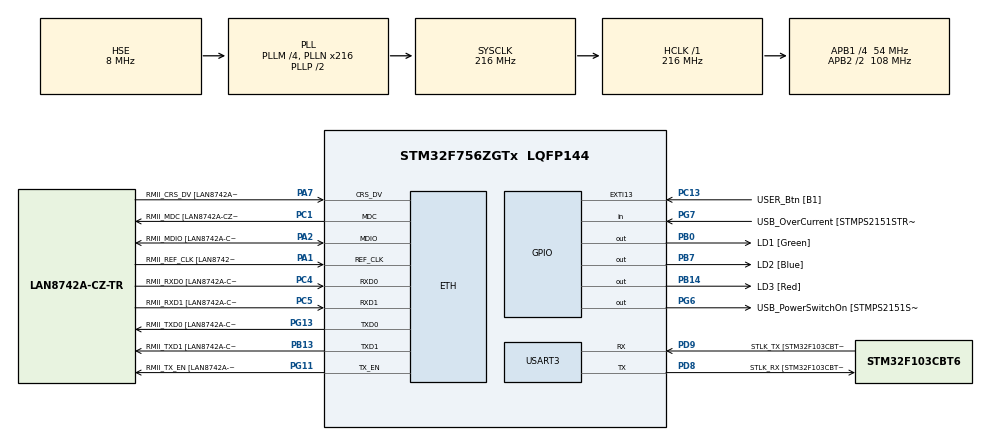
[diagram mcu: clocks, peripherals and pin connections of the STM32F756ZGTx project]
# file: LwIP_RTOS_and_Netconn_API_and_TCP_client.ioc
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ETH.MediaInterface=ETH_MEDIA_INTERFACE_RMII
ETH.PhyAddress=0
FREERTOS.Tasks01=defaultTask,0,256,StartDefaultTask,Default,NULL,Dynamic,NULL,NULL
FREERTOS.configCHECK_FOR_STACK_OVERFLOW=2
FREERTOS.configMINIMAL_STACK_SIZE=256
FREERTOS.configTOTAL_HEAP_SIZE=32768
FREERTOS.configUSE_NEWLIB_REENTRANT=1
LWIP.Version=v2.1.2_Cube
Mcu.Family=STM32F7
Mcu.Name=STM32F756ZGTx
Mcu.Package=LQFP144
NVIC.ETH_IRQn=true\:5\:0\:false\:false\:true\:true\:false\:true
NVIC.PriorityGroup=NVIC_PRIORITYGROUP_4
NVIC.TIM6_DAC_IRQn=true\:15\:0\:false\:false\:true\:false\:false\:true
NVIC.TimeBase=TIM6_DAC_IRQn
NVIC.TimeBaseIP=TIM6
PA1.GPIO_Label=RMII_REF_CLK [LAN8742A-CZ-TR_REFCLK0]
PA1.Mode=RMII
PA1.Signal=ETH_REF_CLK
PA10.GPIO_Label=USB_ID
PA10.Signal=USB_OTG_FS_ID
PA13.GPIO_Label=TMS
PA13.Mode=Trace_Asynchronous_SW
PA13.Signal=SYS_JTMS-SWDIO
PA14.GPIO_Label=TCK
PA14.Mode=Trace_Asynchronous_SW
PA14.Signal=SYS_JTCK-SWCLK
PA2.GPIO_Label=RMII_MDIO [LAN8742A-CZ-TR_MDIO]
PA2.Mode=RMII
PA2.Signal=ETH_MDIO
PA7.GPIO_Label=RMII_CRS_DV [LAN8742A-CZ-TR_CRS_DV]
PA7.Mode=RMII
PA7.Signal=ETH_CRS_DV
PA8.GPIO_Label=USB_SOF [TP1]
PA8.Signal=USB_OTG_FS_SOF
PA9.GPIO_Label=USB_VBUS
PA9.Signal=USB_OTG_FS_VBUS
PB0.GPIO_Label=LD1 [Green]
PB0.Signal=GPIO_Output
PB13.GPIO_Label=RMII_TXD1 [LAN8742A-CZ-TR_TXD1]
PB13.Mode=RMII
PB13.Signal=ETH_TXD1
PB14.GPIO_Label=LD3 [Red]
PB14.Signal=GPIO_Output
PB3.GPIO_Label=SWO
PB3.Mode=Trace_Asynchronous_SW
PB3.Signal=SYS_JTDO-SWO
PB7.GPIO_Label=LD2 [Blue]
PB7.Signal=GPIO_Output
PC1.GPIO_Label=RMII_MDC [LAN8742A-CZ-TR_MDC]
PC1.Mode=RMII
PC1.Signal=ETH_MDC
PC13.GPIO_Label=USER_Btn [B1]
PC13.Signal=GPXTI13
PC14/OSC32_IN.Mode=LSE-External-Oscillator
PC14/OSC32_IN.Signal=RCC_OSC32_IN
PC15/OSC32_OUT.Mode=LSE-External-Oscillator
PC15/OSC32_OUT.Signal=RCC_OSC32_OUT
PC4.GPIO_Label=RMII_RXD0 [LAN8742A-CZ-TR_RXD0]
PC4.Mode=RMII
PC4.Signal=ETH_RXD0
PC5.GPIO_Label=RMII_RXD1 [LAN8742A-CZ-TR_RXD1]
PC5.Mode=RMII
PC5.Signal=ETH_RXD1
PD8.GPIO_Label=STLK_RX [STM32F103CBT6_PA3]
PD8.Mode=Asynchronous
PD8.Signal=USART3_TX
PD9.GPIO_Label=STLK_TX [STM32F103CBT6_PA2]
PD9.Mode=Asynchronous
PD9.Signal=USART3_RX
PG11.GPIO_Label=RMII_TX_EN [LAN8742A-CZ-TR_TXEN]
PG11.Mode=RMII
PG11.Signal=ETH_TX_EN
PG13.GPIO_Label=RMII_TXD0 [LAN8742A-CZ-TR_TXD0]
PG13.Mode=RMII
PG13.Signal=ETH_TXD0
PG6.GPIO_Label=USB_PowerSwitchOn [STMPS2151STR_EN]
PG6.Signal=GPIO_Output
PG7.GPIO_Label=USB_OverCurrent [STMPS2151STR_FAULT]
PG7.Signal=GPIO_Input
PH0/OSC_IN.GPIO_Label=MCO [STM32F103CBT6_PA8]
PH0/OSC_IN.Mode=HSE-External-Clock-Source
PH0/OSC_IN.Signal=RCC_OSC_IN
PH1/OSC_OUT.Mode=HSE-External-Clock-Source
PH1/OSC_OUT.Signal=RCC_OSC_OUT
ProjectManager.HeapSize=0x200
ProjectManager.StackSize=0x400
ProjectManager.TargetToolchain=STM32CubeIDE
RCC.AHBFreq_Value=216000000
RCC.APB1CLKDivider=RCC_HCLK_DIV4
RCC.APB1Freq_Value=54000000
RCC.APB1TimFreq_Value=108000000
RCC.APB2CLKDivider=RCC_HCLK_DIV2
RCC.APB2Freq_Value=108000000
RCC.APB2TimFreq_Value=216000000
RCC.CortexFreq_Value=216000000
RCC.HCLKFreq_Value=216000000
RCC.HSE_VALUE=8000000
RCC.HSI_VALUE=16000000
RCC.PLLM=4
RCC.PLLN=216
RCC.PLLQ=9
RCC.PLLSourceVirtual=RCC_PLLSOURCE_HSE
RCC.SYSCLKFreq_VALUE=216000000
RCC.SYSCLKSource=RCC_SYSCLKSOURCE_PLLCLK
RCC.USBFreq_Value=48000000
RCC.VCOOutputFreq_Value=432000000
USART3.VirtualMode-Asynchronous=VM_ASYNC
VP_FREERTOS_VS_CMSIS_V1.Mode=CMSIS_V1
VP_LWIP_VS_Enabled.Mode=Enabled
VP_SYS_VS_tim6.Mode=TIM6
board=custom

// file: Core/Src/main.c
/* USER CODE BEGIN Header */
/**
  ******************************************************************************
  * @file           : main.c
  * @brief          : Main program body
  ******************************************************************************
  * @attention
  *
  * <h2><center>&copy; Copyright (c) 2021 STMicroelectronics.
  * All rights reserved.</center></h2>
  *
  * This software component is licensed by ST under BSD 3-Clause license,
  * the "License"; You may not use this file except in compliance with the
  * License. You may obtain a copy of the License at:
  *                        opensource.org/licenses/BSD-3-Clause
  *
  ******************************************************************************
  */
/* USER CODE END Header */
#include "main.h"
#include "cmsis_os.h"
#include "lwip.h"
#include "usart.h"
#include "gpio.h"

void SystemClock_Config(void);
void MX_FREERTOS_Init(void);

/* USER CODE BEGIN 0 */
int _write(int file, char *ptr, int len)
{
  int DataIdx;

  for (DataIdx = 0; DataIdx < len; DataIdx++)
  {
    ITM_SendChar(*ptr++);
  }
  return len;
}
/* USER CODE END 0 */

int main(void)
{

  /* MCU Configuration--------------------------------------------------------*/

  /* Reset of all peripherals, Initializes the Flash interface and the Systick. */
  HAL_Init();

  /* Configure the system clock */
  SystemClock_Config();

  /* Initialize all configured peripherals */
  MX_GPIO_Init();
  MX_USART3_UART_Init();
  /* USER CODE BEGIN 2 */
  printf("Don't remove this printf to prevent hard fault.\r\n");

  /* USER CODE END 2 */

  /* Call init function for freertos objects (in freertos.c) */
  MX_FREERTOS_Init();
  /* Start scheduler */
  osKernelStart();

  /* We should never get here as control is now taken by the scheduler */
  /* Infinite loop */
  while (1)
  {

  }
}

void SystemClock_Config(void)
{
  RCC_OscInitTypeDef RCC_OscInitStruct = {0};
  RCC_ClkInitTypeDef RCC_ClkInitStruct = {0};
  RCC_PeriphCLKInitTypeDef PeriphClkInitStruct = {0};

  /** Configure LSE Drive Capability
  */
  HAL_PWR_EnableBkUpAccess();
  /** Configure the main internal regulator output voltage
  */
  __HAL_RCC_PWR_CLK_ENABLE();
  __HAL_PWR_VOLTAGESCALING_CONFIG(PWR_REGULATOR_VOLTAGE_SCALE1);
  /** Initializes the RCC Oscillators according to the specified parameters
  * in the RCC_OscInitTypeDef structure.
  */
  RCC_OscInitStruct.OscillatorType = RCC_OSCILLATORTYPE_HSE;
  RCC_OscInitStruct.HSEState = RCC_HSE_BYPASS;
  RCC_OscInitStruct.PLL.PLLState = RCC_PLL_ON;
  RCC_OscInitStruct.PLL.PLLSource = RCC_PLLSOURCE_HSE;
  RCC_OscInitStruct.PLL.PLLM = 4;
  RCC_OscInitStruct.PLL.PLLN = 216;
  RCC_OscInitStruct.PLL.PLLP = RCC_PLLP_DIV2;
  RCC_OscInitStruct.PLL.PLLQ = 9;
  if (HAL_RCC_OscConfig(&RCC_OscInitStruct) != HAL_OK)
  {
    Error_Handler();
  }
  /** Activate the Over-Drive mode
  */
  if (HAL_PWREx_EnableOverDrive() != HAL_OK)
  {
    Error_Handler();
  }
  /** Initializes the CPU, AHB and APB buses clocks
  */
  RCC_ClkInitStruct.ClockType = RCC_CLOCKTYPE_HCLK|RCC_CLOCKTYPE_SYSCLK
                              |RCC_CLOCKTYPE_PCLK1|RCC_CLOCKTYPE_PCLK2;
  RCC_ClkInitStruct.SYSCLKSource = RCC_SYSCLKSOURCE_PLLCLK;
  RCC_ClkInitStruct.AHBCLKDivider = RCC_SYSCLK_DIV1;
  RCC_ClkInitStruct.APB1CLKDivider = RCC_HCLK_DIV4;
  RCC_ClkInitStruct.APB2CLKDivider = RCC_HCLK_DIV2;

  if (HAL_RCC_ClockConfig(&RCC_ClkInitStruct, FLASH_LATENCY_7) != HAL_OK)
  {
    Error_Handler();
  }
  PeriphClkInitStruct.PeriphClockSelection = RCC_PERIPHCLK_USART3;
  PeriphClkInitStruct.Usart3ClockSelection = RCC_USART3CLKSOURCE_PCLK1;
  if (HAL_RCCEx_PeriphCLKConfig(&PeriphClkInitStruct) != HAL_OK)
  {
    Error_Handler();
  }
}

void HAL_TIM_PeriodElapsedCallback(TIM_HandleTypeDef *htim)
{
  if (htim->Instance == TIM6) {
    HAL_IncTick();
  }
}

void Error_Handler(void)
{
  __disable_irq();
  while (1)
  {
  }
}

/************************ (C) COPYRIGHT STMicroelectronics *****END OF FILE****/

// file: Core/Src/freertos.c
/* USER CODE BEGIN Header */
/**
 ******************************************************************************
 * File Name          : freertos.c
 * Description        : Code for freertos applications
 ******************************************************************************
 * @attention
 *
 * <h2><center>&copy; Copyright (c) 2020 STMicroelectronics.
 * All rights reserved.</center></h2>
 *
 * This software component is licensed by ST under Ultimate Liberty license
 * SLA0044, the "License"; You may not use this file except in compliance with
 * the License. You may obtain a copy of the License at:
 *                             www.st.com/SLA0044
 *
 ******************************************************************************
 */
/* USER CODE END Header */

#include "FreeRTOS.h"
#include "task.h"
#include "main.h"
#include "cmsis_os.h"

/* USER CODE BEGIN Includes */
#include <string.h>
#include "lwip.h"
#include "lwip/api.h"
/* USER CODE END Includes */

/* USER CODE BEGIN PTD */
typedef enum
{
  REQ = 0,
  RESP = 1
} packet_type;

struct time_packet
{
  uint8_t head; //0xAE
  uint8_t type; //0:REQ, 1:RESP
  uint8_t year;
  uint8_t month;
  uint8_t day;
  uint8_t hour;
  uint8_t minute;
  uint8_t second;
  uint8_t dummy[247]; //you may add more information
  uint8_t tail; //0xEA
};
//256 bytes

/* USER CODE END PTD */

/* USER CODE BEGIN PD */
#define SERVER_IP1  192 //server ip address
#define SERVER_IP2  168
#define SERVER_IP3  1
#define SERVER_IP4  227
#define SERVER_PORT	1234 //server listen port
/* USER CODE END PD */

/* USER CODE BEGIN Variables */
extern struct netif gnetif; //extern gnetif
osThreadId tcpClientTaskHandle;  //tcp client task handle
ip_addr_t server_addr; //server address
struct time_packet packet; //256 bytes time_packet structure

/* USER CODE END Variables */
osThreadId defaultTaskHandle;

/* USER CODE BEGIN FunctionPrototypes */
void StartTcpClientTask(void const *argument); //tcp client task function
/* USER CODE END FunctionPrototypes */

void StartDefaultTask(void const * argument);

extern void MX_LWIP_Init(void);
void MX_FREERTOS_Init(void); /* (MISRA C 2004 rule 8.1) */

/* GetIdleTaskMemory prototype (linked to static allocation support) */
void vApplicationGetIdleTaskMemory( StaticTask_t **ppxIdleTaskTCBBuffer, StackType_t **ppxIdleTaskStackBuffer, uint32_t *pulIdleTaskStackSize );

/* Hook prototypes */
void vApplicationStackOverflowHook(xTaskHandle xTask, signed char *pcTaskName);

/* USER CODE BEGIN 4 */
void vApplicationStackOverflowHook(xTaskHandle xTask, signed char *pcTaskName)
{
  /* Run time stack overflow checking is performed if
   configCHECK_FOR_STACK_OVERFLOW is defined to 1 or 2. This hook function is
   called if a stack overflow is detected. */

  HAL_GPIO_WritePin(LD3_GPIO_Port, LD3_Pin, GPIO_PIN_SET); //turn on red led when detects stack overflow
}
/* USER CODE END 4 */

/* USER CODE BEGIN GET_IDLE_TASK_MEMORY */
static StaticTask_t xIdleTaskTCBBuffer;
static StackType_t xIdleStack[configMINIMAL_STACK_SIZE];

void vApplicationGetIdleTaskMemory(StaticTask_t **ppxIdleTaskTCBBuffer, StackType_t **ppxIdleTaskStackBuffer, uint32_t *pulIdleTaskStackSize)
{
  *ppxIdleTaskTCBBuffer = &xIdleTaskTCBBuffer;
  *ppxIdleTaskStackBuffer = &xIdleStack[0];
  *pulIdleTaskStackSize = configMINIMAL_STACK_SIZE;
  /* place for user code */
}
/* USER CODE END GET_IDLE_TASK_MEMORY */

void MX_FREERTOS_Init(void) {

  /* Create the thread(s) */
  /* definition and creation of defaultTask */
  osThreadDef(defaultTask, StartDefaultTask, osPriorityNormal, 0, 256);
  defaultTaskHandle = osThreadCreate(osThread(defaultTask), NULL);

}

void StartDefaultTask(void const * argument)
{
  /* init code for LWIP */
  MX_LWIP_Init();
  /* USER CODE BEGIN StartDefaultTask */
  osThreadDef(tcpClientTask, StartTcpClientTask, osPriorityNormal, 0, configMINIMAL_STACK_SIZE);
  tcpClientTaskHandle = osThreadCreate(osThread(tcpClientTask), NULL); //run tcp client task

  /* Infinite loop */
  for (;;)
  {
    HAL_GPIO_TogglePin(LD1_GPIO_Port, LD1_Pin); //toggle running led
    osDelay(500);
  }
  /* USER CODE END StartDefaultTask */
}

/* USER CODE BEGIN Application */
void StartTcpClientTask(void const *argument)
{
  err_t err;
  struct netconn *conn;
  struct netbuf *buf;
  void *data;

  u16_t len; //buffer length
  u16_t nRead; //read buffer index
  u16_t nWritten; //write buffer index

  LWIP_UNUSED_ARG(argument);

  while (1)
  {
    if (gnetif.ip_addr.addr == 0 || gnetif.netmask.addr == 0 || gnetif.gw.addr == 0) //system has no valid ip address
    {
      osDelay(1000);
      continue;
    }
    else //valid ip address
    {
      osDelay(100); //request interval
    }

    nRead = 0; //clear indexes
    nWritten = 0;

    conn = netconn_new(NETCONN_TCP); //new tcp netconn

    if (conn != NULL)
    {
      IP4_ADDR(&server_addr, SERVER_IP1, SERVER_IP2, SERVER_IP3, SERVER_IP4); //server ip
      err = netconn_connect(conn, &server_addr, SERVER_PORT); //connect to the server

      if (err != ERR_OK)
      {
        netconn_delete(conn); //free memory
        continue;
      }

      memset(&packet, 0, sizeof(struct time_packet));
      packet.head = 0xAE; //head
      packet.type = REQ; //request type
      packet.tail = 0xEA; //tail

      do
      {
        if (netconn_write_partly(
            conn, //connection
            (const void*) (&packet + nWritten), //buffer pointer
            (sizeof(struct time_packet) - nWritten), //buffer length
            NETCONN_NOFLAG, //no copy
            (size_t*) &len) != ERR_OK) //written len
        {
          netconn_close(conn); //close session
          netconn_delete(conn); //free memory
          continue;
        }
        else
        {
          nWritten += len;
        }
      }
      while (nWritten < sizeof(struct time_packet)); //send request

      while (netconn_recv(conn, &buf) == ERR_OK) //receive the response
      {
        do
        {
          netbuf_data(buf, &data, &len); //receive data pointer & length

          memcpy(&packet + nRead, data, len);
          nRead += len;
        }
        while (netbuf_next(buf) >= 0); //check buffer empty
        netbuf_delete(buf); //clear buffer
      }

      if (nRead == sizeof(struct time_packet) && packet.type == RESP) //if received length is valid
      {
        printf("%04d-%02d-%02d %02d:%02d:%02d\n", packet.year + 2000, packet.month, packet.day, packet.hour, packet.minute, packet.second); //print time information
        HAL_GPIO_TogglePin(LD2_GPIO_Port, LD2_Pin); //toggle data led
      }

      netconn_close(conn); //close session
      netconn_delete(conn); //free memory
    }
  }
}
/* USER CODE END Application */

/************************ (C) COPYRIGHT STMicroelectronics *****END OF FILE****/
